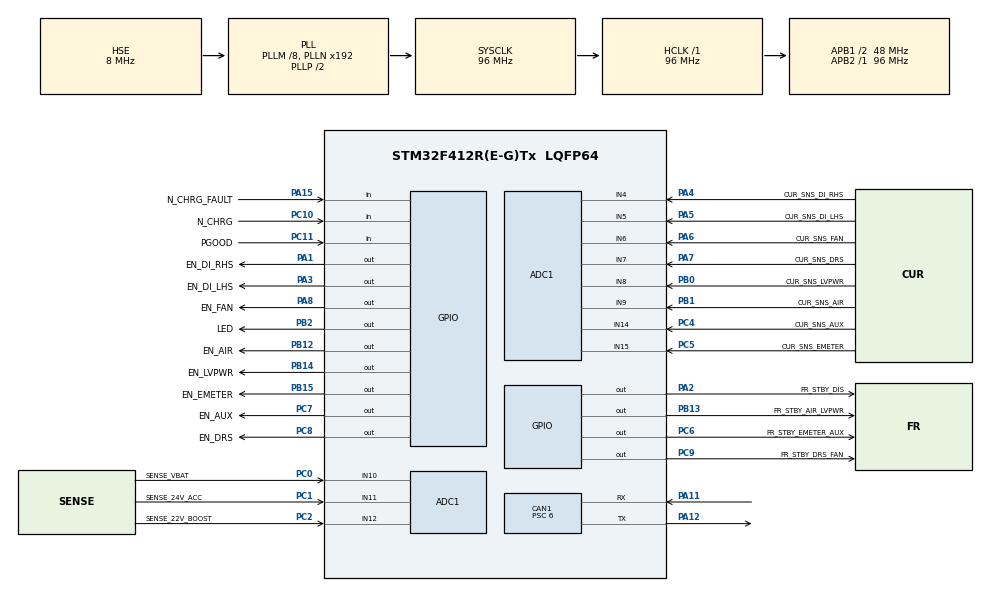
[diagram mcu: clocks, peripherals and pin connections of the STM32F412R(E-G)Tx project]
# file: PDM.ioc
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ADC1.Channel-0\#ChannelRegularConversion=ADC_CHANNEL_4
ADC1.Channel-1\#ChannelRegularConversion=ADC_CHANNEL_5
ADC1.Channel-10\#ChannelRegularConversion=ADC_CHANNEL_15
ADC1.Channel-2\#ChannelRegularConversion=ADC_CHANNEL_6
ADC1.Channel-3\#ChannelRegularConversion=ADC_CHANNEL_7
ADC1.Channel-4\#ChannelRegularConversion=ADC_CHANNEL_8
ADC1.Channel-5\#ChannelRegularConversion=ADC_CHANNEL_9
ADC1.Channel-6\#ChannelRegularConversion=ADC_CHANNEL_10
ADC1.Channel-7\#ChannelRegularConversion=ADC_CHANNEL_11
ADC1.Channel-8\#ChannelRegularConversion=ADC_CHANNEL_12
ADC1.Channel-9\#ChannelRegularConversion=ADC_CHANNEL_14
ADC1.DMAContinuousRequests=ENABLE
ADC1.ExternalTrigConv=ADC_EXTERNALTRIGCONV_T3_TRGO
ADC1.NbrOfConversion=11
ADC1.NbrOfConversionFlag=1
ADC1.Rank-0\#ChannelRegularConversion=1
ADC1.Rank-1\#ChannelRegularConversion=2
ADC1.Rank-10\#ChannelRegularConversion=11
ADC1.Rank-2\#ChannelRegularConversion=3
ADC1.Rank-3\#ChannelRegularConversion=4
ADC1.Rank-4\#ChannelRegularConversion=5
ADC1.Rank-5\#ChannelRegularConversion=6
ADC1.Rank-6\#ChannelRegularConversion=7
ADC1.Rank-7\#ChannelRegularConversion=8
ADC1.Rank-8\#ChannelRegularConversion=9
ADC1.Rank-9\#ChannelRegularConversion=10
ADC1.SamplingTime-0\#ChannelRegularConversion=ADC_SAMPLETIME_3CYCLES
ADC1.SamplingTime-1\#ChannelRegularConversion=ADC_SAMPLETIME_3CYCLES
ADC1.SamplingTime-10\#ChannelRegularConversion=ADC_SAMPLETIME_3CYCLES
ADC1.SamplingTime-2\#ChannelRegularConversion=ADC_SAMPLETIME_3CYCLES
ADC1.SamplingTime-3\#ChannelRegularConversion=ADC_SAMPLETIME_3CYCLES
ADC1.SamplingTime-4\#ChannelRegularConversion=ADC_SAMPLETIME_3CYCLES
ADC1.SamplingTime-5\#ChannelRegularConversion=ADC_SAMPLETIME_3CYCLES
ADC1.SamplingTime-6\#ChannelRegularConversion=ADC_SAMPLETIME_3CYCLES
ADC1.SamplingTime-7\#ChannelRegularConversion=ADC_SAMPLETIME_3CYCLES
ADC1.SamplingTime-8\#ChannelRegularConversion=ADC_SAMPLETIME_3CYCLES
ADC1.SamplingTime-9\#ChannelRegularConversion=ADC_SAMPLETIME_3CYCLES
ADC1.ScanConvMode=ENABLE
ADC1.master=1
CAN1.ABOM=ENABLE
CAN1.BS1=CAN_BS1_13TQ
CAN1.BS2=CAN_BS2_2TQ
CAN1.CalculateBaudRate=500000
CAN1.CalculateTimeBit=2000
CAN1.CalculateTimeQuantum=125.0
CAN1.NART=ENABLE
CAN1.Prescaler=6
CAN1.RFLM=ENABLE
CAN1.SJW=CAN_SJW_4TQ
CAN1.TXFP=ENABLE
Dma.ADC1.0.Direction=DMA_PERIPH_TO_MEMORY
Dma.ADC1.0.FIFOMode=DMA_FIFOMODE_DISABLE
Dma.ADC1.0.Instance=DMA2_Stream0
Dma.ADC1.0.MemDataAlignment=DMA_MDATAALIGN_HALFWORD
Dma.ADC1.0.MemInc=DMA_MINC_ENABLE
Dma.ADC1.0.Mode=DMA_CIRCULAR
Dma.ADC1.0.PeriphDataAlignment=DMA_PDATAALIGN_HALFWORD
Dma.ADC1.0.PeriphInc=DMA_PINC_DISABLE
Dma.ADC1.0.Priority=DMA_PRIORITY_LOW
Dma.Request0=ADC1
FREERTOS.INCLUDE_uxTaskGetStackHighWaterMark=1
FREERTOS.INCLUDE_vTaskDelayUntil=1
FREERTOS.MEMORY_ALLOCATION=1
FREERTOS.Tasks01=Task100Hz,40,512,RunTask100Hz,Default,NULL,Static,Task100HzBuffer,Task100HzControlBlock;TaskCanRx,24,512,RunTaskCanRx,Default,NULL,Static,TaskCanRxBuffer,TaskCanRxControlBlock;TaskCanTx,24,512,RunTaskCanTx,Default,NULL,Static,TaskCanTxBuffer,TaskCanTxControlBlock;Task1kHz,48,512,RunTask1kHz,Default,NULL,Static,Task1kHzBuffer,Task1kHzControlBlock;Task1Hz,32,512,RunTask1Hz,Default,NULL,Static,Task1HzBuffer,Task1HzControlBlock
FREERTOS.configCHECK_FOR_STACK_OVERFLOW=2
FREERTOS.configUSE_NEWLIB_REENTRANT=1
FREERTOS.configUSE_TICK_HOOK=1
FREERTOS.configUSE_TRACE_FACILITY=1
IWDG.Reload=LSI_FREQUENCY /  IWDG_PRESCALER / IWDG_RESET_FREQUENCY
Mcu.Family=STM32F4
Mcu.Name=STM32F412R(E-G)Tx
Mcu.Package=LQFP64
Mcu.UserConstants=LSI_FREQUENCY,32000;IWDG_PRESCALER,4;IWDG_RESET_FREQUENCY,5;TIMx_FREQUENCY,96000000;TIM3_PRESCALER,96;ADC_FREQUENCY,1000
NVIC.CAN1_RX0_IRQn=true\:5\:0\:false\:false\:true\:true\:true\:true\:true
NVIC.CAN1_RX1_IRQn=true\:5\:0\:false\:false\:true\:true\:true\:true\:true
NVIC.DMA2_Stream0_IRQn=true\:5\:0\:false\:false\:true\:true\:false\:true\:true
NVIC.PriorityGroup=NVIC_PRIORITYGROUP_4
NVIC.TIM6_IRQn=true\:0\:0\:false\:false\:true\:false\:false\:true\:true
NVIC.TimeBase=TIM6_IRQn
NVIC.TimeBaseIP=TIM6
PA1.GPIO_Label=EN_DI_RHS
PA1.Signal=GPIO_Output
PA11.Mode=CAN_Activate
PA11.Signal=CAN1_RX
PA12.Mode=CAN_Activate
PA12.Signal=CAN1_TX
PA13.Mode=Trace_Asynchronous_SW
PA13.Signal=SYS_JTMS-SWDIO
PA14.Mode=Trace_Asynchronous_SW
PA14.Signal=SYS_JTCK-SWCLK
PA15.GPIO_Label=N_CHRG_FAULT
PA15.Signal=GPIO_Input
PA2.GPIO_Label=FR_STBY_DIS
PA2.Signal=GPIO_Output
PA3.GPIO_Label=EN_DI_LHS
PA3.Signal=GPIO_Output
PA4.GPIO_Label=CUR_SNS_DI_RHS
PA4.Signal=ADCx_IN4
PA5.GPIO_Label=CUR_SNS_DI_LHS
PA5.Signal=ADCx_IN5
PA6.GPIO_Label=CUR_SNS_FAN
PA6.Signal=ADCx_IN6
PA7.GPIO_Label=CUR_SNS_DRS
PA7.Signal=ADCx_IN7
PA8.GPIO_Label=EN_FAN
PA8.Signal=GPIO_Output
PB0.GPIO_Label=CUR_SNS_LVPWR
PB0.Signal=ADCx_IN8
PB1.GPIO_Label=CUR_SNS_AIR
PB1.Signal=ADCx_IN9
PB12.GPIO_Label=EN_AIR
PB12.Signal=GPIO_Output
PB13.GPIO_Label=FR_STBY_AIR_LVPWR
PB13.Signal=GPIO_Output
PB14.GPIO_Label=EN_LVPWR
PB14.Signal=GPIO_Output
PB15.GPIO_Label=EN_EMETER
PB15.Signal=GPIO_Output
PB2.GPIO_Label=LED
PB2.Signal=GPIO_Output
PB3.Mode=Trace_Asynchronous_SW
PB3.Signal=SYS_JTDO-SWO
PC0.GPIO_Label=SENSE_VBAT
PC0.Signal=ADCx_IN10
PC1.GPIO_Label=SENSE_24V_ACC
PC1.Signal=ADCx_IN11
PC10.GPIO_Label=N_CHRG
PC10.Signal=GPIO_Input
PC11.GPIO_Label=PGOOD
PC11.Signal=GPIO_Input
PC2.GPIO_Label=SENSE_22V_BOOST
PC2.Signal=ADCx_IN12
PC4.GPIO_Label=CUR_SNS_AUX
PC4.Signal=ADCx_IN14
PC5.GPIO_Label=CUR_SNS_EMETER
PC5.Signal=ADCx_IN15
PC6.GPIO_Label=FR_STBY_EMETER_AUX
PC6.Signal=GPIO_Output
PC7.GPIO_Label=EN_AUX
PC7.Signal=GPIO_Output
PC8.GPIO_Label=EN_DRS
PC8.Signal=GPIO_Output
PC9.GPIO_Label=FR_STBY_DRS_FAN
PC9.Signal=GPIO_Output
PH0\ -\ OSC_IN.Mode=HSE-External-Oscillator
PH0\ -\ OSC_IN.Signal=RCC_OSC_IN
PH1\ -\ OSC_OUT.Mode=HSE-External-Oscillator
PH1\ -\ OSC_OUT.Signal=RCC_OSC_OUT
ProjectManager.HeapSize=0x00
ProjectManager.StackSize=0x400
ProjectManager.TargetToolchain=STM32CubeIDE
RCC.AHBFreq_Value=96000000
RCC.APB1CLKDivider=RCC_HCLK_DIV2
RCC.APB1Freq_Value=48000000
RCC.APB1TimFreq_Value=96000000
RCC.APB2Freq_Value=96000000
RCC.APB2TimFreq_Value=96000000
RCC.CortexFreq_Value=96000000
RCC.HCLKFreq_Value=96000000
RCC.HSE_VALUE=8000000
RCC.PLLM=8
RCC.PLLSourceVirtual=RCC_PLLSOURCE_HSE
RCC.SYSCLKFreq_VALUE=96000000
RCC.SYSCLKSource=RCC_SYSCLKSOURCE_PLLCLK
RCC.USBFreq_Value=96000000
RCC.VCOOutputFreq_Value=192000000
SH.ADCx_IN10.0=ADC1_IN10,IN10
SH.ADCx_IN11.0=ADC1_IN11,IN11
SH.ADCx_IN12.0=ADC1_IN12,IN12
SH.ADCx_IN14.0=ADC1_IN14,IN14
SH.ADCx_IN15.0=ADC1_IN15,IN15
SH.ADCx_IN4.0=ADC1_IN4,IN4
SH.ADCx_IN5.0=ADC1_IN5,IN5
SH.ADCx_IN6.0=ADC1_IN6,IN6
SH.ADCx_IN7.0=ADC1_IN7,IN7
SH.ADCx_IN8.0=ADC1_IN8,IN8
SH.ADCx_IN9.0=ADC1_IN9,IN9
TIM3.Period=(TIMx_FREQUENCY / TIM3_PRESCALER / ADC_FREQUENCY) - 1
TIM3.Prescaler=TIM3_PRESCALER - 1 
TIM3.TIM_MasterOutputTrigger=TIM_TRGO_UPDATE
VP_FREERTOS_VS_CMSIS_V2.Mode=CMSIS_V2
VP_IWDG_VS_IWDG.Mode=IWDG_Activate
VP_SYS_VS_tim6.Mode=TIM6
VP_TIM3_VS_ClockSourceINT.Mode=Internal
board=custom

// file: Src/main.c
/* USER CODE BEGIN Header */
/**
 ******************************************************************************
 * @file           : main.c
 * @brief          : Main program body
 ******************************************************************************
 * @attention
 *
 * <h2><center>&copy; Copyright (c) 2020 STMicroelectronics.
 * All rights reserved.</center></h2>
 *
 * This software component is licensed by ST under Ultimate Liberty license
 * SLA0044, the "License"; You may not use this file except in compliance with
 * the License. You may obtain a copy of the License at:
 *                             www.st.com/SLA0044
 *
 ******************************************************************************
 */
/* USER CODE END Header */
#include "main.h"
#include "cmsis_os.h"

/* USER CODE BEGIN Includes */
#include "tasks.h"
/* USER CODE END Includes */

typedef StaticTask_t osStaticThreadDef_t;

ADC_HandleTypeDef hadc1;
DMA_HandleTypeDef hdma_adc1;

CAN_HandleTypeDef hcan1;

IWDG_HandleTypeDef hiwdg;

TIM_HandleTypeDef htim3;

/* Definitions for Task100Hz */
osThreadId_t         Task100HzHandle;
uint32_t             Task100HzBuffer[512];
osStaticThreadDef_t  Task100HzControlBlock;
const osThreadAttr_t Task100Hz_attributes = {
    .name       = "Task100Hz",
    .cb_mem     = &Task100HzControlBlock,
    .cb_size    = sizeof(Task100HzControlBlock),
    .stack_mem  = &Task100HzBuffer[0],
    .stack_size = sizeof(Task100HzBuffer),
    .priority   = (osPriority_t)osPriorityHigh,
};
/* Definitions for TaskCanRx */
osThreadId_t         TaskCanRxHandle;
uint32_t             TaskCanRxBuffer[512];
osStaticThreadDef_t  TaskCanRxControlBlock;
const osThreadAttr_t TaskCanRx_attributes = {
    .name       = "TaskCanRx",
    .cb_mem     = &TaskCanRxControlBlock,
    .cb_size    = sizeof(TaskCanRxControlBlock),
    .stack_mem  = &TaskCanRxBuffer[0],
    .stack_size = sizeof(TaskCanRxBuffer),
    .priority   = (osPriority_t)osPriorityNormal,
};
/* Definitions for TaskCanTx */
osThreadId_t         TaskCanTxHandle;
uint32_t             TaskCanTxBuffer[512];
osStaticThreadDef_t  TaskCanTxControlBlock;
const osThreadAttr_t TaskCanTx_attributes = {
    .name       = "TaskCanTx",
    .cb_mem     = &TaskCanTxControlBlock,
    .cb_size    = sizeof(TaskCanTxControlBlock),
    .stack_mem  = &TaskCanTxBuffer[0],
    .stack_size = sizeof(TaskCanTxBuffer),
    .priority   = (osPriority_t)osPriorityNormal,
};
/* Definitions for Task1kHz */
osThreadId_t         Task1kHzHandle;
uint32_t             Task1kHzBuffer[512];
osStaticThreadDef_t  Task1kHzControlBlock;
const osThreadAttr_t Task1kHz_attributes = {
    .name       = "Task1kHz",
    .cb_mem     = &Task1kHzControlBlock,
    .cb_size    = sizeof(Task1kHzControlBlock),
    .stack_mem  = &Task1kHzBuffer[0],
    .stack_size = sizeof(Task1kHzBuffer),
    .priority   = (osPriority_t)osPriorityRealtime,
};
/* Definitions for Task1Hz */
osThreadId_t         Task1HzHandle;
uint32_t             Task1HzBuffer[512];
osStaticThreadDef_t  Task1HzControlBlock;
const osThreadAttr_t Task1Hz_attributes = {
    .name       = "Task1Hz",
    .cb_mem     = &Task1HzControlBlock,
    .cb_size    = sizeof(Task1HzControlBlock),
    .stack_mem  = &Task1HzBuffer[0],
    .stack_size = sizeof(Task1HzBuffer),
    .priority   = (osPriority_t)osPriorityAboveNormal,
};

void        SystemClock_Config(void);
static void MX_GPIO_Init(void);
static void MX_DMA_Init(void);
static void MX_ADC1_Init(void);
static void MX_CAN1_Init(void);
static void MX_IWDG_Init(void);
static void MX_TIM3_Init(void);
void        RunTask100Hz(void *argument);
void        RunTaskCanRx(void *argument);
void        RunTaskCanTx(void *argument);
void        RunTask1kHz(void *argument);
void        RunTask1Hz(void *argument);

int main(void)
{
    /* USER CODE BEGIN 1 */
    tasks_preInit();
    /* USER CODE END 1 */

    /* MCU Configuration--------------------------------------------------------*/

    /* Reset of all peripherals, Initializes the Flash interface and the Systick. */
    HAL_Init();

    /* Configure the system clock */
    SystemClock_Config();

    /* Initialize all configured peripherals */
    MX_GPIO_Init();
    MX_DMA_Init();
    MX_ADC1_Init();
    MX_CAN1_Init();
    MX_IWDG_Init();
    MX_TIM3_Init();
    /* USER CODE BEGIN 2 */
    tasks_init();
    /* USER CODE END 2 */

    /* Init scheduler */
    osKernelInitialize();

    /* Create the thread(s) */
    /* creation of Task100Hz */
    Task100HzHandle = osThreadNew(RunTask100Hz, NULL, &Task100Hz_attributes);

    /* creation of TaskCanRx */
    TaskCanRxHandle = osThreadNew(RunTaskCanRx, NULL, &TaskCanRx_attributes);

    /* creation of TaskCanTx */
    TaskCanTxHandle = osThreadNew(RunTaskCanTx, NULL, &TaskCanTx_attributes);

    /* creation of Task1kHz */
    Task1kHzHandle = osThreadNew(RunTask1kHz, NULL, &Task1kHz_attributes);

    /* creation of Task1Hz */
    Task1HzHandle = osThreadNew(RunTask1Hz, NULL, &Task1Hz_attributes);

    /* Start scheduler */
    osKernelStart();

    /* We should never get here as control is now taken by the scheduler */
    /* Infinite loop */
    while (1)
    {

    }
}

void SystemClock_Config(void)
{
    RCC_OscInitTypeDef RCC_OscInitStruct = { 0 };
    RCC_ClkInitTypeDef RCC_ClkInitStruct = { 0 };

    /** Configure the main internal regulator output voltage
     */
    __HAL_RCC_PWR_CLK_ENABLE();
    __HAL_PWR_VOLTAGESCALING_CONFIG(PWR_REGULATOR_VOLTAGE_SCALE1);

    /** Initializes the RCC Oscillators according to the specified parameters
     * in the RCC_OscInitTypeDef structure.
     */
    RCC_OscInitStruct.OscillatorType = RCC_OSCILLATORTYPE_LSI | RCC_OSCILLATORTYPE_HSE;
    RCC_OscInitStruct.HSEState       = RCC_HSE_ON;
    RCC_OscInitStruct.LSIState       = RCC_LSI_ON;
    RCC_OscInitStruct.PLL.PLLState   = RCC_PLL_ON;
    RCC_OscInitStruct.PLL.PLLSource  = RCC_PLLSOURCE_HSE;
    RCC_OscInitStruct.PLL.PLLM       = 8;
    RCC_OscInitStruct.PLL.PLLN       = 192;
    RCC_OscInitStruct.PLL.PLLP       = RCC_PLLP_DIV2;
    RCC_OscInitStruct.PLL.PLLQ       = 2;
    RCC_OscInitStruct.PLL.PLLR       = 2;
    if (HAL_RCC_OscConfig(&RCC_OscInitStruct) != HAL_OK)
    {
        Error_Handler();
    }

    /** Initializes the CPU, AHB and APB buses clocks
     */
    RCC_ClkInitStruct.ClockType = RCC_CLOCKTYPE_HCLK | RCC_CLOCKTYPE_SYSCLK | RCC_CLOCKTYPE_PCLK1 | RCC_CLOCKTYPE_PCLK2;
    RCC_ClkInitStruct.SYSCLKSource   = RCC_SYSCLKSOURCE_PLLCLK;
    RCC_ClkInitStruct.AHBCLKDivider  = RCC_SYSCLK_DIV1;
    RCC_ClkInitStruct.APB1CLKDivider = RCC_HCLK_DIV2;
    RCC_ClkInitStruct.APB2CLKDivider = RCC_HCLK_DIV1;

    if (HAL_RCC_ClockConfig(&RCC_ClkInitStruct, FLASH_LATENCY_3) != HAL_OK)
    {
        Error_Handler();
    }
}

static void MX_ADC1_Init(void)
{

    ADC_ChannelConfTypeDef sConfig = { 0 };

    /** Configure the global features of the ADC (Clock, Resolution, Data Alignment and number of conversion)
     */
    hadc1.Instance                   = ADC1;
    hadc1.Init.ClockPrescaler        = ADC_CLOCK_SYNC_PCLK_DIV4;
    hadc1.Init.Resolution            = ADC_RESOLUTION_12B;
    hadc1.Init.ScanConvMode          = ENABLE;
    hadc1.Init.ContinuousConvMode    = DISABLE;
    hadc1.Init.DiscontinuousConvMode = DISABLE;
    hadc1.Init.ExternalTrigConvEdge  = ADC_EXTERNALTRIGCONVEDGE_RISING;
    hadc1.Init.ExternalTrigConv      = ADC_EXTERNALTRIGCONV_T3_TRGO;
    hadc1.Init.DataAlign             = ADC_DATAALIGN_RIGHT;
    hadc1.Init.NbrOfConversion       = 11;
    hadc1.Init.DMAContinuousRequests = ENABLE;
    hadc1.Init.EOCSelection          = ADC_EOC_SINGLE_CONV;
    if (HAL_ADC_Init(&hadc1) != HAL_OK)
    {
        Error_Handler();
    }

    /** Configure for the selected ADC regular channel its corresponding rank in the sequencer and its sample time.
     */
    sConfig.Channel      = ADC_CHANNEL_4;
    sConfig.Rank         = 1;
    sConfig.SamplingTime = ADC_SAMPLETIME_3CYCLES;
    if (HAL_ADC_ConfigChannel(&hadc1, &sConfig) != HAL_OK)
    {
        Error_Handler();
    }

    /** Configure for the selected ADC regular channel its corresponding rank in the sequencer and its sample time.
     */
    sConfig.Channel = ADC_CHANNEL_5;
    sConfig.Rank    = 2;
    if (HAL_ADC_ConfigChannel(&hadc1, &sConfig) != HAL_OK)
    {
        Error_Handler();
    }

    /** Configure for the selected ADC regular channel its corresponding rank in the sequencer and its sample time.
     */
    sConfig.Channel = ADC_CHANNEL_6;
    sConfig.Rank    = 3;
    if (HAL_ADC_ConfigChannel(&hadc1, &sConfig) != HAL_OK)
    {
        Error_Handler();
    }

    /** Configure for the selected ADC regular channel its corresponding rank in the sequencer and its sample time.
     */
    sConfig.Channel = ADC_CHANNEL_7;
    sConfig.Rank    = 4;
    if (HAL_ADC_ConfigChannel(&hadc1, &sConfig) != HAL_OK)
    {
        Error_Handler();
    }

    /** Configure for the selected ADC regular channel its corresponding rank in the sequencer and its sample time.
     */
    sConfig.Channel = ADC_CHANNEL_8;
    sConfig.Rank    = 5;
    if (HAL_ADC_ConfigChannel(&hadc1, &sConfig) != HAL_OK)
    {
        Error_Handler();
    }

    /** Configure for the selected ADC regular channel its corresponding rank in the sequencer and its sample time.
     */
    sConfig.Channel = ADC_CHANNEL_9;
    sConfig.Rank    = 6;
    if (HAL_ADC_ConfigChannel(&hadc1, &sConfig) != HAL_OK)
    {
        Error_Handler();
    }

    /** Configure for the selected ADC regular channel its corresponding rank in the sequencer and its sample time.
     */
    sConfig.Channel = ADC_CHANNEL_10;
    sConfig.Rank    = 7;
    if (HAL_ADC_ConfigChannel(&hadc1, &sConfig) != HAL_OK)
    {
        Error_Handler();
    }

    /** Configure for the selected ADC regular channel its corresponding rank in the sequencer and its sample time.
     */
    sConfig.Channel = ADC_CHANNEL_11;
    sConfig.Rank    = 8;
    if (HAL_ADC_ConfigChannel(&hadc1, &sConfig) != HAL_OK)
    {
        Error_Handler();
    }

    /** Configure for the selected ADC regular channel its corresponding rank in the sequencer and its sample time.
     */
    sConfig.Channel = ADC_CHANNEL_12;
    sConfig.Rank    = 9;
    if (HAL_ADC_ConfigChannel(&hadc1, &sConfig) != HAL_OK)
    {
        Error_Handler();
    }

    /** Configure for the selected ADC regular channel its corresponding rank in the sequencer and its sample time.
     */
    sConfig.Channel = ADC_CHANNEL_14;
    sConfig.Rank    = 10;
    if (HAL_ADC_ConfigChannel(&hadc1, &sConfig) != HAL_OK)
    {
        Error_Handler();
    }

    /** Configure for the selected ADC regular channel its corresponding rank in the sequencer and its sample time.
     */
    sConfig.Channel = ADC_CHANNEL_15;
    sConfig.Rank    = 11;
    if (HAL_ADC_ConfigChannel(&hadc1, &sConfig) != HAL_OK)
    {
        Error_Handler();
    }
}

static void MX_CAN1_Init(void)
{

    hcan1.Instance                  = CAN1;
    hcan1.Init.Prescaler            = 6;
    hcan1.Init.Mode                 = CAN_MODE_NORMAL;
    hcan1.Init.SyncJumpWidth        = CAN_SJW_4TQ;
    hcan1.Init.TimeSeg1             = CAN_BS1_13TQ;
    hcan1.Init.TimeSeg2             = CAN_BS2_2TQ;
    hcan1.Init.TimeTriggeredMode    = DISABLE;
    hcan1.Init.AutoBusOff           = ENABLE;
    hcan1.Init.AutoWakeUp           = DISABLE;
    hcan1.Init.AutoRetransmission   = ENABLE;
    hcan1.Init.ReceiveFifoLocked    = ENABLE;
    hcan1.Init.TransmitFifoPriority = ENABLE;
    if (HAL_CAN_Init(&hcan1) != HAL_OK)
    {
        Error_Handler();
    }
}

static void MX_IWDG_Init(void)
{

    hiwdg.Instance       = IWDG;
    hiwdg.Init.Prescaler = IWDG_PRESCALER_4;
    hiwdg.Init.Reload    = LSI_FREQUENCY / IWDG_PRESCALER / IWDG_RESET_FREQUENCY;
    if (HAL_IWDG_Init(&hiwdg) != HAL_OK)
    {
        Error_Handler();
    }
}

static void MX_TIM3_Init(void)
{

    TIM_ClockConfigTypeDef  sClockSourceConfig = { 0 };
    TIM_MasterConfigTypeDef sMasterConfig      = { 0 };

    htim3.Instance               = TIM3;
    htim3.Init.Prescaler         = TIM3_PRESCALER - 1;
    htim3.Init.CounterMode       = TIM_COUNTERMODE_UP;
    htim3.Init.Period            = (TIMx_FREQUENCY / TIM3_PRESCALER / ADC_FREQUENCY) - 1;
    htim3.Init.ClockDivision     = TIM_CLOCKDIVISION_DIV1;
    htim3.Init.AutoReloadPreload = TIM_AUTORELOAD_PRELOAD_DISABLE;
    if (HAL_TIM_Base_Init(&htim3) != HAL_OK)
    {
        Error_Handler();
    }
    sClockSourceConfig.ClockSource = TIM_CLOCKSOURCE_INTERNAL;
    if (HAL_TIM_ConfigClockSource(&htim3, &sClockSourceConfig) != HAL_OK)
    {
        Error_Handler();
    }
    sMasterConfig.MasterOutputTrigger = TIM_TRGO_UPDATE;
    sMasterConfig.MasterSlaveMode     = TIM_MASTERSLAVEMODE_DISABLE;
    if (HAL_TIMEx_MasterConfigSynchronization(&htim3, &sMasterConfig) != HAL_OK)
    {
        Error_Handler();
    }
}

static void MX_DMA_Init(void)
{
    /* DMA controller clock enable */
    __HAL_RCC_DMA2_CLK_ENABLE();

    /* DMA interrupt init */
    /* DMA2_Stream0_IRQn interrupt configuration */
    HAL_NVIC_SetPriority(DMA2_Stream0_IRQn, 5, 0);
    HAL_NVIC_EnableIRQ(DMA2_Stream0_IRQn);
}

static void MX_GPIO_Init(void)
{
    GPIO_InitTypeDef GPIO_InitStruct = { 0 };

    /* GPIO Ports Clock Enable */
    __HAL_RCC_GPIOH_CLK_ENABLE();
    __HAL_RCC_GPIOC_CLK_ENABLE();
    __HAL_RCC_GPIOA_CLK_ENABLE();
    __HAL_RCC_GPIOB_CLK_ENABLE();

    /*Configure GPIO pin Output Level */
    HAL_GPIO_WritePin(GPIOA, EN_DI_RHS_Pin | FR_STBY_DIS_Pin | EN_DI_LHS_Pin | EN_FAN_Pin, GPIO_PIN_RESET);

    /*Configure GPIO pin Output Level */
    HAL_GPIO_WritePin(
        GPIOB, LED_Pin | EN_AIR_Pin | FR_STBY_AIR_LVPWR_Pin | EN_LVPWR_Pin | EN_EMETER_Pin, GPIO_PIN_RESET);

    /*Configure GPIO pin Output Level */
    HAL_GPIO_WritePin(GPIOC, FR_STBY_EMETER_AUX_Pin | EN_AUX_Pin | EN_DRS_Pin | FR_STBY_DRS_FAN_Pin, GPIO_PIN_RESET);

    /*Configure GPIO pins : EN_DI_RHS_Pin FR_STBY_DIS_Pin EN_DI_LHS_Pin EN_FAN_Pin */
    GPIO_InitStruct.Pin   = EN_DI_RHS_Pin | FR_STBY_DIS_Pin | EN_DI_LHS_Pin | EN_FAN_Pin;
    GPIO_InitStruct.Mode  = GPIO_MODE_OUTPUT_PP;
    GPIO_InitStruct.Pull  = GPIO_NOPULL;
    GPIO_InitStruct.Speed = GPIO_SPEED_FREQ_LOW;
    HAL_GPIO_Init(GPIOA, &GPIO_InitStruct);

    /*Configure GPIO pins : LED_Pin EN_AIR_Pin FR_STBY_AIR_LVPWR_Pin EN_LVPWR_Pin
                             EN_EMETER_Pin */
    GPIO_InitStruct.Pin   = LED_Pin | EN_AIR_Pin | FR_STBY_AIR_LVPWR_Pin | EN_LVPWR_Pin | EN_EMETER_Pin;
    GPIO_InitStruct.Mode  = GPIO_MODE_OUTPUT_PP;
    GPIO_InitStruct.Pull  = GPIO_NOPULL;
    GPIO_InitStruct.Speed = GPIO_SPEED_FREQ_LOW;
    HAL_GPIO_Init(GPIOB, &GPIO_InitStruct);

    /*Configure GPIO pins : FR_STBY_EMETER_AUX_Pin EN_AUX_Pin EN_DRS_Pin FR_STBY_DRS_FAN_Pin */
    GPIO_InitStruct.Pin   = FR_STBY_EMETER_AUX_Pin | EN_AUX_Pin | EN_DRS_Pin | FR_STBY_DRS_FAN_Pin;
    GPIO_InitStruct.Mode  = GPIO_MODE_OUTPUT_PP;
    GPIO_InitStruct.Pull  = GPIO_NOPULL;
    GPIO_InitStruct.Speed = GPIO_SPEED_FREQ_LOW;
    HAL_GPIO_Init(GPIOC, &GPIO_InitStruct);

    /*Configure GPIO pin : N_CHRG_FAULT_Pin */
    GPIO_InitStruct.Pin  = N_CHRG_FAULT_Pin;
    GPIO_InitStruct.Mode = GPIO_MODE_INPUT;
    GPIO_InitStruct.Pull = GPIO_NOPULL;
    HAL_GPIO_Init(N_CHRG_FAULT_GPIO_Port, &GPIO_InitStruct);

    /*Configure GPIO pins : N_CHRG_Pin PGOOD_Pin */
    GPIO_InitStruct.Pin  = N_CHRG_Pin | PGOOD_Pin;
    GPIO_InitStruct.Mode = GPIO_MODE_INPUT;
    GPIO_InitStruct.Pull = GPIO_NOPULL;
    HAL_GPIO_Init(GPIOC, &GPIO_InitStruct);

}

void RunTask100Hz(void *argument)
{
    /* USER CODE BEGIN 5 */
    UNUSED(argument);
    tasks_run100Hz();
    /* USER CODE END 5 */
}

void RunTaskCanRx(void *argument)
{
    /* USER CODE BEGIN RunTaskCanRx */
    UNUSED(argument);
    tasks_runCanRx();
    /* USER CODE END RunTaskCanRx */
}

void RunTaskCanTx(void *argument)
{
    /* USER CODE BEGIN RunTaskCanTx */
    UNUSED(argument);
    tasks_runCanTx();
    /* USER CODE END RunTaskCanTx */
}

void RunTask1kHz(void *argument)
{
    /* USER CODE BEGIN RunTask1kHz */
    UNUSED(argument);
    tasks_run1kHz();
    /* USER CODE END RunTask1kHz */
}

void RunTask1Hz(void *argument)
{
    /* USER CODE BEGIN RunTask1Hz */
    UNUSED(argument);
    tasks_run1Hz();
    /* USER CODE END RunTask1Hz */
}

void HAL_TIM_PeriodElapsedCallback(TIM_HandleTypeDef *htim)
{
    if (htim->Instance == TIM6)
    {
        HAL_IncTick();
    }
}

void Error_Handler(void)
{
    /* USER CODE BEGIN Error_Handler_Debug */
    __assert_func(__FILE__, __LINE__, "Error_Handler", "Error_Handler");
    /* USER CODE END Error_Handler_Debug */
}

#ifdef USE_FULL_ASSERT
/**
 * @brief  Reports the name of the source file and the source line number
 *         where the assert_param error has occurred.
 * @param  file: pointer to the source file name
 * @param  line: assert_param error line source number
 * @retval None
 */
void assert_failed(uint8_t *file, uint32_t line)
{
    /* USER CODE BEGIN 6 */
    __assert_func(file, line, "assert_failed", "assert_failed");
    /* USER CODE END 6 */
}
#endif /* USE_FULL_ASSERT */
